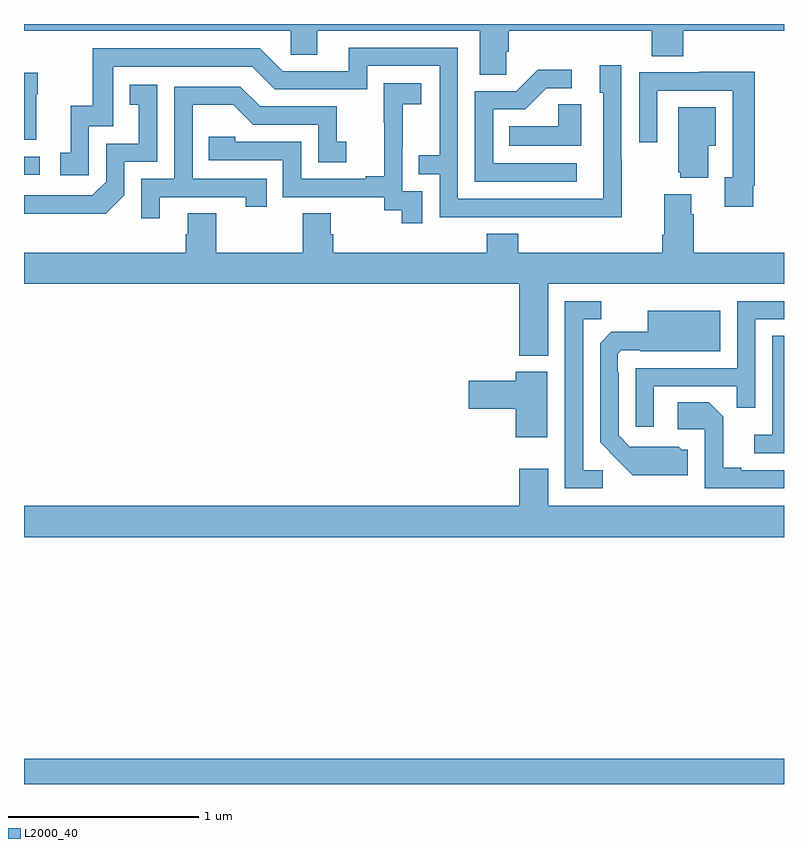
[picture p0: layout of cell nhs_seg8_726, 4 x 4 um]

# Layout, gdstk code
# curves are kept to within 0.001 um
import gdstk
lib = gdstk.Library(unit=1e-6, precision=1e-09)
def R(c, l, rs):  # rectangles x0, y0, x1, y1
    for r in rs: c.add(gdstk.rectangle(r[:2], r[2:], *l))
def P(c, l, *ps):  # polygons
    for p in ps: c.add(gdstk.Polygon(p, *l))
L2000_40 = (2000, 40)

nhs_seg8_726 = lib.new_cell('nhs_seg8_726')
R(nhs_seg8_726, L2000_40, [(159,1081.9,163,1082.032), (159,1085.106,159.082,1085.202)])
P(nhs_seg8_726, L2000_40, [(161.538,1085.755),(161.552,1085.755),(161.552,1085.864),(162.305,1085.864),(162.305,1085.731),(162.47,1085.731),(162.47,1085.864),(163,1085.864),(163,1085.9),(159,1085.9),(159,1085.864),(160.404,1085.864),(160.404,1085.737),(160.543,1085.737),(160.543,1085.864),(161.399,1085.864),(161.399,1085.632),(161.538,1085.632)],
  [(162.147,1085.189),(162.144,1085.189),(162.144,1085.683),(162.029,1085.683),(162.029,1085.538),(162.048,1085.538),(162.048,1084.98),(161.283,1084.98),(161.283,1085.775),(160.709,1085.775),(160.709,1085.652),(160.362,1085.652),(160.242,1085.772),(159.363,1085.772),(159.363,1085.47),(159.245,1085.47),(159.245,1085.223),(159.192,1085.223),(159.192,1085.103),(159.342,1085.103),(159.342,1085.361),(159.471,1085.361),(159.471,1085.676),(160.2,1085.676),(160.32,1085.556),(160.806,1085.556),(160.806,1085.679),(161.187,1085.679),(161.187,1085.21),(161.077,1085.21),(161.077,1085.109),(161.187,1085.109),(161.187,1084.884),(162.147,1084.883)],
  [(161.908,1085.166),(161.469,1085.166),(161.469,1085.451),(161.638,1085.451),(161.749,1085.562),(161.884,1085.562),(161.884,1085.66),(161.705,1085.66),(161.592,1085.547),(161.373,1085.547),(161.373,1085.07),(161.908,1085.07)],
  [(162.838,1085.05),(162.845,1085.05),(162.845,1085.648),(162.553,1085.648),(162.553,1085.646),(162.237,1085.646),(162.237,1085.277),(162.333,1085.277),(162.333,1085.55),(162.729,1085.55),(162.729,1085.094),(162.689,1085.094),(162.689,1084.938),(162.838,1084.938)],
  [(159.064,1085.531),(159.072,1085.531),(159.072,1085.644),(159,1085.644),(159,1085.291),(159.064,1085.291)],
  [(161.097,1085.019),(160.992,1085.019),(160.992,1085.249),(160.994,1085.249),(160.994,1085.477),(161.092,1085.477),(161.092,1085.587),(160.894,1085.587),(160.894,1085.381),(160.895,1085.381),(160.895,1085.098),(160.799,1085.098),(160.799,1085.085),(160.458,1085.085),(160.458,1085.28),(160.113,1085.28),(160.113,1085.307),(159.973,1085.307),(159.973,1085.184),(160.362,1085.184),(160.362,1084.989),(160.896,1084.989),(160.896,1084.921),(160.989,1084.921),(160.989,1084.851),(161.097,1084.851)],
  [(159.528,1084.998),(159.528,1085.175),(159.702,1085.175),(159.702,1085.581),(159.556,1085.581),(159.556,1085.475),(159.605,1085.475),(159.605,1085.271),(159.432,1085.271),(159.432,1085.07),(159.36,1084.998),(159,1084.998),(159,1084.902),(159.022,1084.901),(159.43,1084.901)],
  [(159.715,1084.989),(160.166,1084.989),(160.166,1084.938),(160.277,1084.938),(160.277,1085.085),(159.888,1085.085),(159.888,1085.474),(160.102,1085.474),(160.206,1085.37),(160.548,1085.37),(160.548,1085.172),(160.696,1085.172),(160.696,1085.281),(160.647,1085.281),(160.647,1085.466),(160.243,1085.466),(160.138,1085.571),(159.792,1085.571),(159.792,1085.085),(159.618,1085.085),(159.618,1084.878),(159.715,1084.878)],
  [(161.932,1085.477),(161.811,1085.477),(161.811,1085.362),(161.554,1085.362),(161.554,1085.258),(161.932,1085.258)],
  [(162.601,1085.258),(162.64,1085.258),(162.64,1085.461),(162.443,1085.461),(162.443,1085.121),(162.455,1085.121),(162.455,1085.09),(162.601,1085.09)],
  [(161.6,1084.795),(161.435,1084.795),(161.435,1084.696),(160.628,1084.696),(160.628,1084.794),(160.615,1084.794),(160.615,1084.904),(160.468,1084.904),(160.468,1084.696),(160.011,1084.696),(160.011,1084.904),(159.863,1084.904),(159.863,1084.794),(159.851,1084.794),(159.851,1084.696),(159,1084.696),(159,1084.532),(161.606,1084.532),(161.606,1084.154),(161.758,1084.154),(161.758,1084.532),(163,1084.532),(163,1084.696),(162.524,1084.696),(162.524,1084.898),(162.511,1084.898),(162.511,1085.005),(162.371,1085.005),(162.371,1084.792),(162.359,1084.792),(162.359,1084.696),(161.6,1084.696)],
  [(162.315,1083.993),(162.751,1083.993),(162.751,1083.88),(162.849,1083.88),(162.849,1084.347),(163,1084.347),(163,1084.44),(162.753,1084.44),(162.753,1084.089),(162.219,1084.089),(162.219,1083.78),(162.315,1083.78)],
  [(162.046,1083.552),(161.943,1083.552),(161.943,1084.345),(162.039,1084.345),(162.039,1084.44),(161.847,1084.44),(161.847,1083.456),(162.046,1083.456)],
  [(162.493,1083.66),(162.462,1083.66),(162.446,1083.676),(162.189,1083.675),(162.129,1083.735),(162.129,1084.064),(162.126,1084.064),(162.126,1084.164),(162.144,1084.182),(162.244,1084.182),(162.244,1084.178),(162.664,1084.178),(162.664,1084.39),(162.284,1084.39),(162.284,1084.279),(162.092,1084.279),(162.033,1084.22),(162.033,1083.698),(162.205,1083.524),(162.493,1083.524)],
  [(163,1084.259),(162.939,1084.259),(162.939,1083.739),(162.843,1083.739),(162.843,1083.642),(163,1083.642)],
  [(161.755,1084.069),(161.588,1084.069),(161.588,1084.022),(161.34,1084.022),(161.34,1083.875),(161.588,1083.875),(161.588,1083.726),(161.755,1083.726)],
  [(163,1083.552),(162.775,1083.552),(162.775,1083.565),(162.681,1083.565),(162.681,1083.832),(162.605,1083.908),(162.441,1083.908),(162.441,1083.768),(162.582,1083.768),(162.582,1083.456),(163,1083.456)],
  [(163,1083.364),(161.758,1083.364),(161.758,1083.559),(161.606,1083.559),(161.606,1083.364),(159,1083.364),(159,1083.2),(163,1083.2)])

lib.write_gds('nhs_seg8_726.gds')
